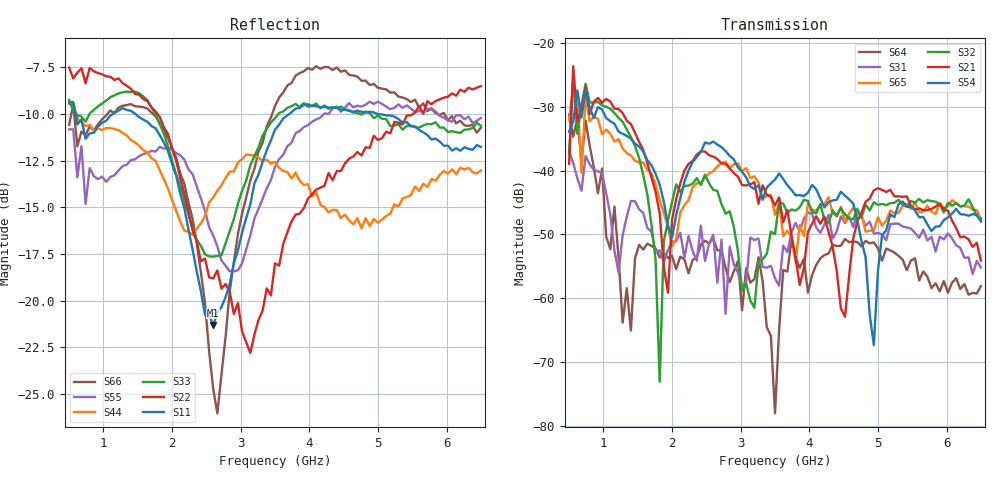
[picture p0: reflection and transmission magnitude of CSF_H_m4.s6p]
!Keysight Technologies,M9804A,MY58100912,A.14.10.03
!Date: Thursday, April 27, 2023 10:28:33
!Correction: S11(C  6-Port  )
!S12(C  6-Port  )
!S13(C  6-Port  )
!S14(C  6-Port  )
!S15(C  6-Port  )
!S16(C  6-Port  )
!S21(C  6-Port  )
!S22(C  6-Port  )
!S23(C  6-Port  )
!S24(C  6-Port  )
!S25(C  6-Port  )
!S26(C  6-Port  )
!S31(C  6-Port  )
!S32(C  6-Port  )
!S33(C  6-Port  )
!S34(C  6-Port  )
!S35(C  6-Port  )
!S36(C  6-Port  )
!S41(C  6-Port  )
!S42(C  6-Port  )
!S43(C  6-Port  )
!S44(C  6-Port  )
!S45(C  6-Port  )
!S46(C  6-Port  )
!S51(C  6-Port  )
!S52(C  6-Port  )
!S53(C  6-Port  )
!S54(C  6-Port  )
!S55(C  6-Port  )
!S56(C  6-Port  )
!S61(C  6-Port  )
!S62(C  6-Port  )
!S63(C  6-Port  )
!S64(C  6-Port  )
!S65(C  6-Port  )
!S66(C  6-Port  )
!S6P File: Measurement: :
# Hz S  RI  R 50
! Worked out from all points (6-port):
!   101 points, 500 MHz to 6.5 GHz, reference 50 ohm
!   strongest paths, dB at 500 MHz, 2 GHz, 3.5 GHz, 5 GHz, 6.5 GHz:
!     S54: -33.9, -50.5, -41.4, -55.7, -48.0
!     S21: -39.0, -47.7, -45.5, -42.7, -54.1
!     S32: -37.4, -44.9, -50.0, -45.4, -47.5
!     S65: -32.1, -51.8, -46.9, -47.3, -47.7
!     S31: -37.0, -51.1, -56.9, -49.8, -55.2
!     S64: -31.2, -53.4, -78.0, -52.2, -58.1
!   lowest |S11| = -21.3 dB at 2.6 GHz (marker M1), VSWR 1.19, Z = 42.4 + j2.3 ohm
!   |S11| at or under -10 dB: 592.1 MHz to 1.136 GHz (544 MHz wide, 63 % of centre); 1.467 GHz to 3.709 GHz (2.242 GHz wide, 86.6 % of centre); 4.995 GHz to end of sweep
